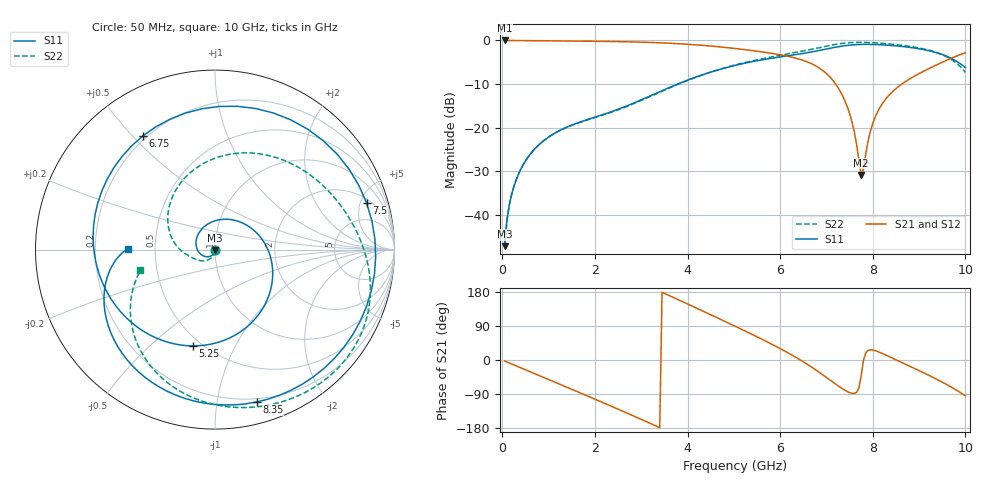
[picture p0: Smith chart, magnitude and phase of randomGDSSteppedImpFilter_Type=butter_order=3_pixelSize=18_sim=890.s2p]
! freq	dB(S11)	phase(S11)	dB(S12)	phase(S12)
!  dB(S21)	phase(S21)	dB(S22)	phase(S22)
!S-par simulation data
#  GHz  S  DB  R 50
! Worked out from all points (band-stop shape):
!   200 points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, 50 MHz to 10 GHz, reference 50 ohm
!   highest |S21| = 0.00 dB at 50 MHz (marker M1); lowest = -30.8 dB at 7.75 GHz (marker M2)
!   |S21| within 3 dB of the highest: start of sweep to 5.845 GHz; 9.953641 GHz to end of sweep
!   lowest |S11| = -47.2 dB at 50 MHz (marker M3), VSWR 1.01, Z = 50 - j0.438 ohm
!   |S11| at or under -10 dB: start of sweep to 3.787 GHz
!   |S22| runs from -47.1 to -0.4 dB; largest |S21 - S12| = 0
!   S11 on the Smith chart (normalised r, x): 50 MHz: 1.00, -0.01; 5.25 GHz: 0.45, -0.69; 6.75 GHz: 0.18, +0.54; 7.5 GHz: 2.39, +5.67; 8.35 GHz: 0.17, -1.30; 10 GHz: 0.35, +0.00
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0.05  -47.17 -91.6  -0.00 -2.6  -0.00 -2.6  -47.10 -90.0
0.2  -35.40 -101.7  -0.02 -10.4  -0.02 -10.4  -35.36 -96.9
0.5  -27.65 -122.4  -0.04 -25.8  -0.04 -25.8  -27.61 -110.0
1.15  -21.16 -166.4  -0.10 -59.2  -0.10 -59.2  -21.18 -134.3
1.75  -18.46 149.2  -0.17 -90.2  -0.17 -90.2  -18.53 -152.3
2.7  -14.97 71.4  -0.31 -140.4  -0.31 -140.4  -15.10 -174.7
3.4  -11.75 17.4  -0.54 -178.5  -0.54 -178.5  -11.87 163.3
4.3  -7.95 -42.7  -1.10 131.0  -1.10 131.0  -7.99 122.9
5.05  -5.66 -90.0  -1.87 87.9  -1.87 87.9  -5.56 84.5
5.25  -5.18 -103.0  -2.12 76.1  -2.12 76.1  -5.04 74.2
5.7  -4.28 -134.7  -2.76 49.1  -2.76 49.1  -4.02 51.9
6.15  -3.54 -172.0  -3.60 20.2  -3.60 20.2  -3.12 31.0
6.7  -2.60 128.6  -5.45 -20.4  -5.45 -20.4  -1.97 6.8
6.75  -2.50 122.2  -5.72 -24.5  -5.72 -24.5  -1.86 4.6
7.1  -1.74 74.0  -8.67 -54.8  -8.67 -54.8  -1.08 -11.7
7.5  -1.08 17.1  -16.78 -86.1  -16.78 -86.1  -0.51 -32.1
7.75  -0.91 -14.8  -30.83 -41.7  -30.83 -41.7  -0.43 -44.7
8  -0.91 -42.5  -19.03 26.2  -19.03 26.2  -0.52 -56.8
8.35  -1.11 -74.7  -12.57 9.2  -12.57 9.2  -0.80 -72.7
8.75  -1.52 -105.1  -9.13 -13.6  -9.13 -13.6  -1.29 -90.4
9.2  -2.32 -135.0  -6.51 -39.7  -6.51 -39.7  -2.19 -111.9
10  -6.25 179.4  -2.84 -94.3  -2.84 -94.3  -7.32 -164.6
